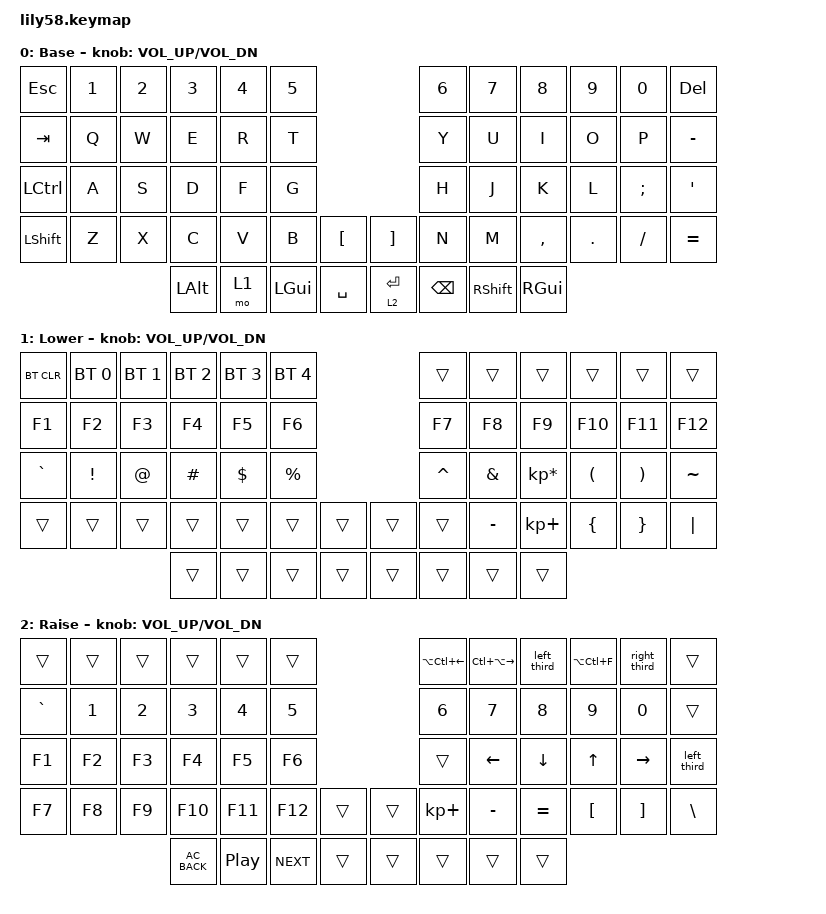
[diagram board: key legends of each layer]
/*
 * Copyright (c) 2020 The ZMK Contributors
 *
 * SPDX-License-Identifier: MIT
 */

#include <behaviors.dtsi>
#include <dt-bindings/zmk/bt.h>
#include <dt-bindings/zmk/keys.h>

/ {
    behaviors {
        left_third: left_third {
            compatible = "zmk,behavior-tap-dance";
            label = "LEFT_THIRD";
            #binding-cells = <0>;
            bindings = <&kp LA(LC(D))>, <&kp LC(LA(E))>;
        };

        right_third: right_third {
            compatible = "zmk,behavior-tap-dance";
            label = "RIGHT_THIRD";
            #binding-cells = <0>;
            bindings = <&kp LA(LC(G))>, <&kp LC(LA(T))>;
        };
    };

    keymap {
        compatible = "zmk,keymap";

        default_layer {
            // ------------------------------------------------------------------------------------------------------------
            // |  ESC  |  1  |  2  |  3   |  4   |  5   |                   |  6   |  7    |  8    |  9   |   0   |   `   |
            // |  TAB  |  Q  |  W  |  E   |  R   |  T   |                   |  Y   |  U    |  I    |  O   |   P   |   -   |
            // |  CTRL |  A  |  S  |  D   |  F   |  G   |                   |  H   |  J    |  K    |  L   |   ;   |   '   |
            // | SHIFT |  Z  |  X  |  C   |  V   |  B   |   "["  |  |  "]"  |  N   |  M    |  ,    |  .   |   /   | SHIFT |
            //                     | ALT  | GUI  | LOWER|  SPACE |  | ENTER | RAISE| BSPC  | GUI   |

            label = "Base";
            bindings = <
&kp ESCAPE  &kp N1  &kp N2  &kp N3    &kp N4  &kp N5                                  &kp N6         &kp N7           &kp N8     &kp N9   &kp N0    &kp DELETE
&kp TAB     &kp Q   &kp W   &kp E     &kp R   &kp T                                   &kp Y          &kp U            &kp I      &kp O    &kp P     &kp MINUS
&kp LCTRL   &kp A   &kp S   &kp D     &kp F   &kp G                                   &kp H          &kp J            &kp K      &kp L    &kp SEMI  &kp SQT
&kp LSHFT   &kp Z   &kp X   &kp C     &kp V   &kp B         &kp LBKT     &kp RBKT     &kp N          &kp M            &kp COMMA  &kp DOT  &kp FSLH  &kp EQUAL
                            &kp LALT  &mo 1   &kp LEFT_GUI  &kp SPACE    &lt 2 ENTER  &kp BACKSPACE  &kp RIGHT_SHIFT  &kp RGUI
            >;

            sensor-bindings = <&inc_dec_kp C_VOL_UP C_VOL_DN>;
        };

        lower_layer {
            // ------------------------------------------------------------------------------------------------------------
            // | BTCLR | BT1 | BT2 |  BT3 |  BT4 |  BT5 |                   |      |       |       |      |       |       |
            // |  F1   |  F2 |  F3 |  F4  |  F5  |  F6  |                   |  F7  |  F8   |  F9   |  F10 |  F11  |  F12  |
            // |   `   |  !  |  @  |  #   |  $   |  %   |                   |  ^   |  &    |  *    |  (   |   )   |   ~   |
            // |       |     |     |      |      |      |        |  |       |      |  _    |  +    |  {   |   }   |  "|"  |
            //                     |      |      |      |        |  |       |      |       |       |

            label = "Lower";
            bindings = <
&bt BT_CLR  &bt BT_SEL 0  &bt BT_SEL 1  &bt BT_SEL 2  &bt BT_SEL 3  &bt BT_SEL 4                    &trans     &trans     &trans           &trans    &trans    &trans
&kp F1      &kp F2        &kp F3        &kp F4        &kp F5        &kp F6                          &kp F7     &kp F8     &kp F9           &kp F10   &kp F11   &kp F12
&kp GRAVE   &kp EXCL      &kp AT        &kp HASH      &kp DOLLAR    &kp PRCNT                       &kp CARET  &kp AMPS   &kp KP_MULTIPLY  &kp LPAR  &kp RPAR  &kp TILDE
&trans      &trans        &trans        &trans        &trans        &trans        &trans    &trans  &trans     &kp MINUS  &kp KP_PLUS      &kp LBRC  &kp RBRC  &kp PIPE
                                        &trans        &trans        &trans        &trans    &trans  &trans     &trans     &trans
            >;

            sensor-bindings = <&inc_dec_kp C_VOL_UP C_VOL_DN>;
        };

        raise_layer {
            // ------------------------------------------------------------------------------------------------------------
            // |       |     |     |      |      |      |                   |      |       |       |      |       |       |
            // |   `   |  1  |  2  |  3   |  4   |  5   |                   |  6   |   7   |   8   |  9   |   0   |       |
            // |   F1  |  F2 |  F3 |  F4  |  F5  |  F6  |                   |      |   <-  |   v   |  ^   |  ->   |       |
            // |   F7  |  F8 |  F9 |  F10 |  F11 |  F12 |        |  |       |  +   |   -   |   =   |  [   |   ]   |   \   |
            //                     |      |      |      |        |  |       |      |       |       |

            label = "Raise";
            bindings = <
&trans     &trans  &trans  &trans         &trans            &trans                        &kp LA(LC(LEFT_ARROW))  &kp LC(LA(RIGHT_ARROW))  &left_third  &kp LA(LC(F))  &right_third  &trans
&kp GRAVE  &kp N1  &kp N2  &kp N3         &kp N4            &kp N5                        &kp N6                  &kp N7                   &kp N8       &kp N9         &kp N0        &trans
&kp F1     &kp F2  &kp F3  &kp F4         &kp F5            &kp F6                        &trans                  &kp LEFT                 &kp DOWN     &kp UP         &kp RIGHT     &left_third
&kp F7     &kp F8  &kp F9  &kp F10        &kp F11           &kp F12     &trans    &trans  &kp KP_PLUS             &kp MINUS                &kp EQUAL    &kp LBKT       &kp RBKT      &kp BSLH
                           &kp C_AC_BACK  &kp C_PLAY_PAUSE  &kp C_NEXT  &trans    &trans  &trans                  &trans                   &trans
            >;

            sensor-bindings = <&inc_dec_kp C_VOL_UP C_VOL_DN>;
        };
    };
};
